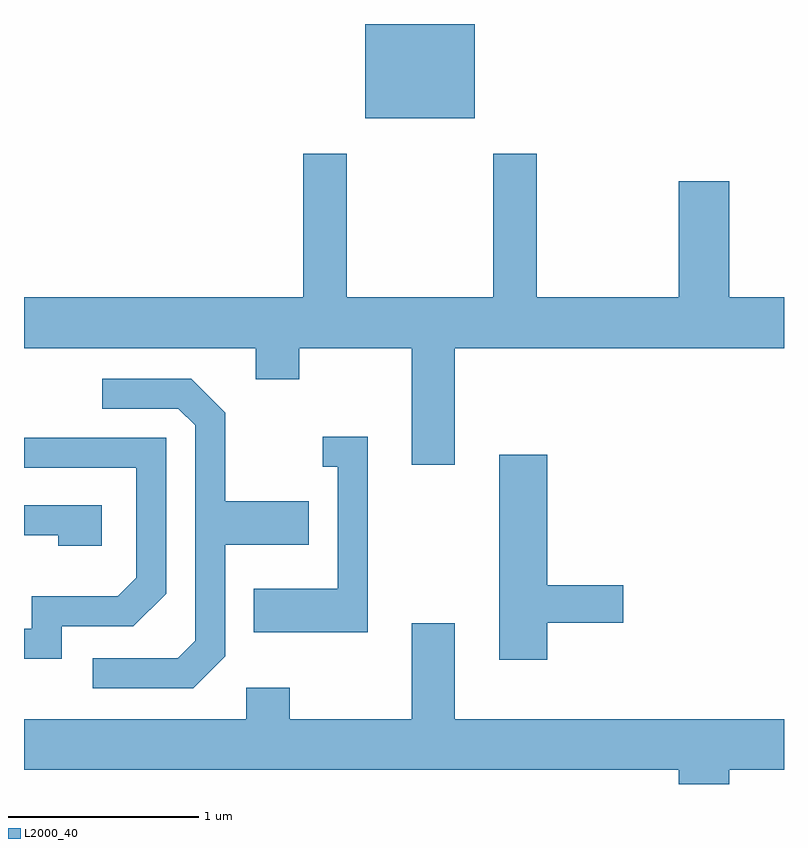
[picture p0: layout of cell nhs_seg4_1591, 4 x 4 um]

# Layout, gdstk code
import gdstk
lib = gdstk.Library(unit=1e-6, precision=1e-09)
def R(c, l, rs):  # rectangles x0, y0, x1, y1
    for r in rs: c.add(gdstk.rectangle(r[:2], r[2:], *l))
def P(c, l, *ps):  # polygons
    for p in ps: c.add(gdstk.Polygon(p, *l))
L2000_40 = (2000, 40)

nhs_seg4_1591 = lib.new_cell('nhs_seg4_1591')
R(nhs_seg4_1591, L2000_40, [(233.406,1311.486,233.984,1311.982)])
P(nhs_seg4_1591, L2000_40, [(233.879,1310.276),(235.611,1310.276),(235.611,1310.544),(235.324,1310.544),(235.324,1311.154),(235.056,1311.154),(235.056,1310.544),(234.309,1310.544),(234.309,1311.299),(234.081,1311.299),(234.081,1310.544),(233.309,1310.544),(233.309,1311.299),(233.081,1311.299),(233.081,1310.544),(231.611,1310.544),(231.611,1310.276),(232.831,1310.276),(232.831,1310.111),(233.059,1310.111),(233.059,1310.276),(233.651,1310.276),(233.651,1309.661),(233.879,1309.661)],
  [(232.669,1308.654),(232.669,1309.241),(233.109,1309.241),(233.109,1309.469),(232.669,1309.469),(232.669,1309.937),(232.492,1310.114),(232.023,1310.114),(232.023,1309.956),(232.424,1309.956),(232.511,1309.869),(232.511,1308.737),(232.419,1308.644),(231.973,1308.644),(231.973,1308.486),(232.502,1308.486)],
  [(233.419,1309.809),(233.183,1309.809),(233.183,1309.651),(233.261,1309.651),(233.261,1309.009),(232.821,1309.009),(232.821,1308.781),(233.419,1308.781)],
  [(231.809,1308.811),(232.187,1308.811),(232.359,1308.984),(232.359,1309.804),(231.611,1309.804),(231.611,1309.646),(232.201,1309.646),(232.201,1309.067),(232.104,1308.969),(231.651,1308.969),(231.651,1308.799),(231.611,1308.799),(231.611,1308.641),(231.809,1308.641)],
  [(234.364,1308.831),(234.764,1308.831),(234.764,1309.029),(234.364,1309.029),(234.364,1309.714),(234.111,1309.714),(234.111,1308.636),(234.364,1308.636)],
  [(232.019,1309.449),(231.611,1309.449),(231.611,1309.291),(231.791,1309.291),(231.791,1309.236),(232.019,1309.236)],
  [(235.324,1308.056),(235.611,1308.056),(235.611,1308.324),(233.879,1308.324),(233.879,1308.829),(233.651,1308.829),(233.651,1308.324),(233.009,1308.324),(233.009,1308.489),(232.781,1308.489),(232.781,1308.324),(231.611,1308.324),(231.611,1308.056),(235.056,1308.056),(235.056,1307.982),(235.324,1307.982)])

lib.write_gds('nhs_seg4_1591.gds')
